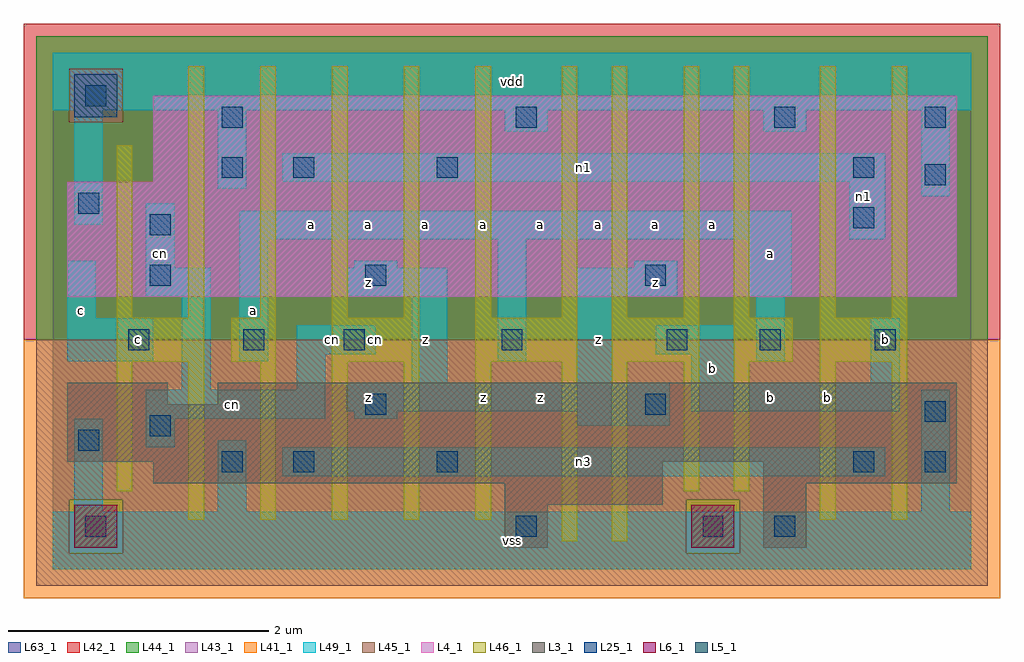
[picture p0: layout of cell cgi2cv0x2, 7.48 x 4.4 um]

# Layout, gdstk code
import gdstk
lib = gdstk.Library(unit=1e-6, precision=1e-09)
def R(c, l, rs):  # rectangles x0, y0, x1, y1
    for r in rs: c.add(gdstk.rectangle(r[:2], r[2:], *l))
def A(c, l, x, y, w, h, nx, ny, dx, dy):  # array of equal rectangles
    R(c, l, [(x+i*dx, y+j*dy, x+i*dx+w, y+j*dy+h) for i in range(nx) for j in range(ny)])
L3_1 = (3, 1)
L4_1 = (4, 1)
L5_1 = (5, 1)
L6_1 = (6, 1)
L25_1 = (25, 1)
L41_1 = (41, 1)
L42_1 = (42, 1)
L43_1 = (43, 1)
L44_1 = (44, 1)
L45_1 = (45, 1)
L46_1 = (46, 1)
L49_1 = (49, 1)
L63_1 = (63, 1)

cgi2cv0x2 = lib.new_cell('cgi2cv0x2')
R(cgi2cv0x2, L3_1, [(3.465,0.165,3.795,0.495), (5.445,0.165,5.775,0.66), (3.465,0.495,4.675,0.66), (0.77,0.66,4.675,0.825), (5.445,0.66,6.93,0.825), (0.11,0.825,6.93,1.265), (0.11,1.265,0.88,1.43), (1.265,1.265,6.93,1.43)])
R(cgi2cv0x2, L4_1, [(0.11,2.09,6.93,2.97), (0.77,2.97,6.93,3.63)])
R(cgi2cv0x2, L5_1, [(0.165,3.465,0.495,3.795)])
R(cgi2cv0x2, L6_1, [(0.165,0.165,0.495,0.495), (4.895,0.165,5.225,0.495)])
R(cgi2cv0x2, L25_1, [(0.25,0.25,0.41,0.41), (3.55,0.25,3.71,0.41), (4.98,0.25,5.14,0.41), (5.53,0.25,5.69,0.41), (1.295,0.745,1.455,0.905), (1.845,0.745,2.005,0.905), (2.945,0.745,3.105,0.905), (6.135,0.745,6.295,0.905), (6.685,0.745,6.845,0.905), (0.195,0.91,0.355,1.07), (0.745,1.02,0.905,1.18), (6.685,1.13,6.845,1.29), (2.395,1.185,2.555,1.345), (4.54,1.185,4.7,1.345), (0.58,1.68,0.74,1.84), (1.46,1.68,1.62,1.84), (2.23,1.68,2.39,1.84), (3.44,1.68,3.6,1.84), (4.705,1.68,4.865,1.84), (5.42,1.68,5.58,1.84), (6.3,1.68,6.46,1.84), (0.745,2.175,0.905,2.335), (2.395,2.175,2.555,2.335), (4.54,2.175,4.7,2.335), (0.745,2.56,0.905,2.72), (6.135,2.615,6.295,2.775), (0.195,2.725,0.355,2.885), (6.685,2.945,6.845,3.105), (1.295,3,1.455,3.16), (1.845,3,2.005,3.16), (2.945,3,3.105,3.16), (6.135,3,6.295,3.16), (1.295,3.385,1.455,3.545), (3.55,3.385,3.71,3.545), (5.53,3.385,5.69,3.545), (6.685,3.385,6.845,3.545), (0.25,3.55,0.41,3.71)])
R(cgi2cv0x2, L41_1, [(-0.22,-0.22,7.26,1.76)])
R(cgi2cv0x2, L42_1, [(-0.22,1.76,7.26,4.18)])
R(cgi2cv0x2, L43_1, [(0.165,0.165,0.495,0.495), (3.465,0.165,3.795,0.495), (4.895,0.165,5.225,0.495), (5.445,0.165,5.775,0.66), (3.465,0.495,4.675,0.66), (0.77,0.66,4.675,0.825), (5.445,0.66,6.93,0.825), (0.11,0.825,6.93,1.265), (0.11,1.265,0.88,1.43), (1.265,1.265,6.93,1.43), (0.11,2.09,6.93,2.97), (0.77,2.97,6.93,3.63), (0.165,3.465,0.495,3.795)])
R(cgi2cv0x2, L44_1, [(0.125,0.125,0.535,0.535), (4.855,0.125,5.265,0.535), (-0.125,1.76,7.165,3.425), (-0.125,3.425,0.125,3.835), (0.535,3.425,7.165,3.835), (-0.125,3.835,7.165,4.085)])
R(cgi2cv0x2, L45_1, [(-0.125,-0.125,7.165,0.125), (-0.125,0.125,0.125,0.535), (0.535,0.125,4.855,0.535), (5.265,0.125,7.165,0.535), (-0.125,0.535,7.165,1.76), (0.125,3.425,0.535,3.835)])
A(cgi2cv0x2, L46_1, 1.04, 0.38, 0.12, 1.21, 5, 1, 0.55, 0)
A(cgi2cv0x2, L46_1, 1.04, 1.93, 0.12, 1.925, 5, 1, 0.55, 0)
R(cgi2cv0x2, L46_1, [(3.9,0.215,4.02,1.59), (4.285,0.215,4.405,1.59), (5.88,0.38,6,1.59), (6.43,0.38,6.55,1.59), (0.49,0.6,0.61,1.59), (4.835,0.6,4.955,1.59), (5.22,0.6,5.34,1.59), (0.49,1.59,1.16,1.93), (1.37,1.59,1.71,1.93), (2.14,1.59,2.81,1.93), (3.24,1.59,4.02,1.93), (4.285,1.59,4.955,1.93), (5.22,1.59,5.67,1.93), (5.88,1.59,6.55,1.93), (0.49,1.93,0.61,3.25), (3.9,1.93,4.02,3.855), (4.285,1.93,4.405,3.855), (4.835,1.93,4.955,3.855), (5.22,1.93,5.34,3.855), (5.88,1.93,6,3.855), (6.43,1.93,6.55,3.855)])
R(cgi2cv0x2, L49_1, [(0,0,7.04,0.44), (0.165,0.44,0.385,1.155), (1.265,0.44,1.485,0.99), (6.655,0.44,6.875,1.375), (1.76,0.715,6.38,0.935), (0.715,0.935,0.935,1.155), (4.015,1.1,4.73,1.21), (0.715,1.155,2.09,1.375), (2.31,1.155,2.64,1.21), (2.255,1.21,4.73,1.43), (4.895,1.21,6.49,1.43), (0.99,1.375,1.21,2.09), (1.87,1.375,2.09,1.65), (2.75,1.43,3.025,2.09), (4.015,1.43,4.29,2.09), (4.895,1.43,5.225,1.65), (6.27,1.43,6.49,1.925), (0.11,1.595,0.77,1.925), (1.43,1.595,1.65,2.53), (3.41,1.595,3.63,2.53), (5.39,1.595,5.61,2.09), (1.87,1.65,2.475,1.87), (4.62,1.65,5.225,1.87), (0.11,1.925,0.33,2.365), (0.715,2.09,1.21,2.31), (2.255,2.09,3.025,2.31), (4.015,2.09,4.785,2.31), (5.335,2.09,5.665,2.53), (0.715,2.31,0.935,2.805), (2.31,2.31,2.64,2.365), (4.455,2.31,4.785,2.365), (1.43,2.53,5.665,2.75), (6.105,2.53,6.38,2.97), (0.165,2.64,0.385,3.52), (6.655,2.86,6.875,3.52), (1.265,2.915,1.485,3.52), (1.76,2.97,6.38,3.19), (3.465,3.355,3.795,3.52), (5.445,3.355,5.775,3.52), (0,3.52,7.04,3.96)])
R(cgi2cv0x2, L63_1, [(0,0,7.04,3.96)])
cgi2cv0x2.add(gdstk.Label('cn', (2.475,1.76), layer=46, texttype=1))
cgi2cv0x2.add(gdstk.Label('c', (0.66,1.76), layer=49, texttype=1))
cgi2cv0x2.add(gdstk.Label('c', (0.22,1.98), layer=49, texttype=1))
cgi2cv0x2.add(gdstk.Label('cn', (0.825,2.42), layer=49, texttype=1))
cgi2cv0x2.add(gdstk.Label('cn', (1.375,1.265), layer=49, texttype=1))
cgi2cv0x2.add(gdstk.Label('z', (2.42,1.32), layer=49, texttype=1))
cgi2cv0x2.add(gdstk.Label('cn', (2.145,1.76), layer=49, texttype=1))
cgi2cv0x2.add(gdstk.Label('z', (2.42,2.2), layer=49, texttype=1))
cgi2cv0x2.add(gdstk.Label('a', (1.54,1.98), layer=49, texttype=1))
cgi2cv0x2.add(gdstk.Label('a', (1.98,2.64), layer=49, texttype=1))
cgi2cv0x2.add(gdstk.Label('a', (2.42,2.64), layer=49, texttype=1))
cgi2cv0x2.add(gdstk.Label('vss', (3.52,0.22), layer=49, texttype=1))
cgi2cv0x2.add(gdstk.Label('z', (3.3,1.32), layer=49, texttype=1))
cgi2cv0x2.add(gdstk.Label('z', (3.74,1.32), layer=49, texttype=1))
cgi2cv0x2.add(gdstk.Label('z', (2.86,1.76), layer=49, texttype=1))
cgi2cv0x2.add(gdstk.Label('a', (2.86,2.64), layer=49, texttype=1))
cgi2cv0x2.add(gdstk.Label('a', (3.3,2.64), layer=49, texttype=1))
cgi2cv0x2.add(gdstk.Label('a', (3.74,2.64), layer=49, texttype=1))
cgi2cv0x2.add(gdstk.Label('vdd', (3.52,3.74), layer=49, texttype=1))
cgi2cv0x2.add(gdstk.Label('b', (5.5,1.32), layer=49, texttype=1))
cgi2cv0x2.add(gdstk.Label('b', (5.06,1.54), layer=49, texttype=1))
cgi2cv0x2.add(gdstk.Label('z', (4.18,1.76), layer=49, texttype=1))
cgi2cv0x2.add(gdstk.Label('z', (4.62,2.2), layer=49, texttype=1))
cgi2cv0x2.add(gdstk.Label('a', (5.5,2.42), layer=49, texttype=1))
cgi2cv0x2.add(gdstk.Label('a', (4.18,2.64), layer=49, texttype=1))
cgi2cv0x2.add(gdstk.Label('a', (4.62,2.64), layer=49, texttype=1))
cgi2cv0x2.add(gdstk.Label('a', (5.06,2.64), layer=49, texttype=1))
cgi2cv0x2.add(gdstk.Label('n3', (4.07,0.825), layer=49, texttype=1))
cgi2cv0x2.add(gdstk.Label('b', (5.94,1.32), layer=49, texttype=1))
cgi2cv0x2.add(gdstk.Label('b', (6.38,1.76), layer=49, texttype=1))
cgi2cv0x2.add(gdstk.Label('n1', (6.215,2.86), layer=49, texttype=1))
cgi2cv0x2.add(gdstk.Label('n1', (4.07,3.08), layer=49, texttype=1))

lib.write_gds('cgi2cv0x2.gds')
